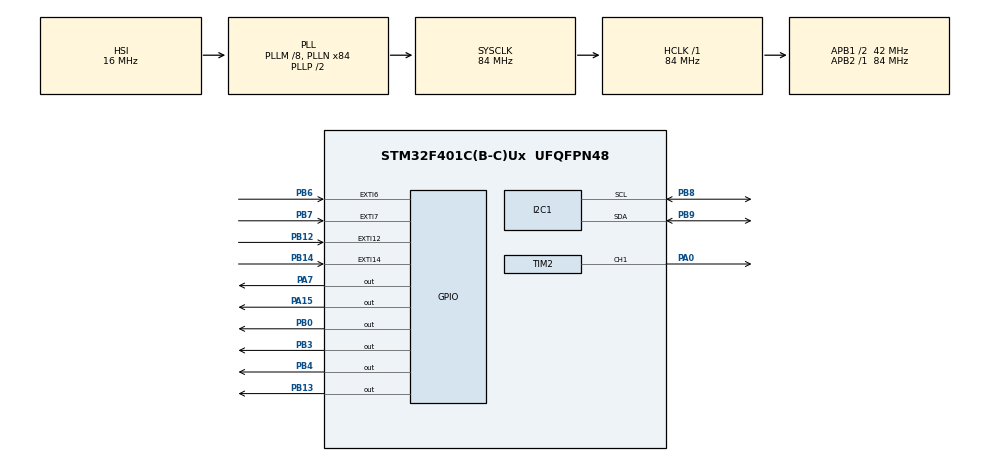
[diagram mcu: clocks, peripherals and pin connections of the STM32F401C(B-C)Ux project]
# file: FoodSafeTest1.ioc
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Mcu.Family=STM32F4
Mcu.Name=STM32F401C(B-C)Ux
Mcu.Package=UFQFPN48
NVIC.EXTI15_10_IRQn=true\:0\:0\:false\:false\:true\:true\:true\:true
NVIC.EXTI9_5_IRQn=true\:0\:0\:false\:false\:true\:true\:true\:true
NVIC.PriorityGroup=NVIC_PRIORITYGROUP_4
PA0-WKUP.Signal=S_TIM2_CH1_ETR
PA13.Mode=Serial_Wire
PA13.Signal=SYS_JTMS-SWDIO
PA14.Mode=Serial_Wire
PA14.Signal=SYS_JTCK-SWCLK
PA15.Signal=GPIO_Output
PA7.Signal=GPIO_Output
PB0.Signal=GPIO_Output
PB12.Signal=GPXTI12
PB13.Signal=GPIO_Output
PB14.Signal=GPXTI14
PB3.Signal=GPIO_Output
PB4.Signal=GPIO_Output
PB6.Signal=GPXTI6
PB7.Signal=GPXTI7
PB8.Mode=I2C
PB8.Signal=I2C1_SCL
PB9.Mode=I2C
PB9.Signal=I2C1_SDA
ProjectManager.HeapSize=0x200
ProjectManager.StackSize=0x400
ProjectManager.TargetToolchain=STM32CubeIDE
RCC.48MHZClocksFreq_Value=42000000
RCC.AHBFreq_Value=84000000
RCC.APB1CLKDivider=RCC_HCLK_DIV2
RCC.APB1Freq_Value=42000000
RCC.APB1TimFreq_Value=84000000
RCC.APB2Freq_Value=84000000
RCC.APB2TimFreq_Value=84000000
RCC.CortexFreq_Value=84000000
RCC.HCLKFreq_Value=84000000
RCC.HSE_VALUE=25000000
RCC.HSI_VALUE=16000000
RCC.LSE_VALUE=32768
RCC.PLLM=8
RCC.PLLN=84
RCC.SYSCLKFreq_VALUE=84000000
RCC.SYSCLKSource=RCC_SYSCLKSOURCE_PLLCLK
RCC.VCOOutputFreq_Value=168000000
SH.S_TIM2_CH1_ETR.0=TIM2_CH1,PWM Generation1 CH1
TIM2.Channel-PWM\ Generation1\ CH1=TIM_CHANNEL_1
TIM2.Period=19999
TIM2.Prescaler=83
board=custom

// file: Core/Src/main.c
/* USER CODE BEGIN Header */
/**
  ******************************************************************************
  * @file           : main.c
  * @brief          : Main program body
  ******************************************************************************
  * @attention
  *
  * Copyright (c) 2025 STMicroelectronics.
  * All rights reserved.
  *
  * This software is licensed under terms that can be found in the LICENSE file
  * in the root directory of this software component.
  * If no LICENSE file comes with this software, it is provided AS-IS.
  *
  ******************************************************************************
  */
/* USER CODE END Header */
#include "main.h"
#include "i2c.h"
#include "tim.h"
#include "gpio.h"

/* USER CODE BEGIN Includes */
// Includes the library for controlling an LCD display via I2C.
#include "liquidcrystal_i2c.h"

// Includes the standard string library for string manipulation functions.
#include <string.h>

// Includes the library for controlling a servo motor.
#include "ServoMotor.h"

// ARM Cortex-M4 core header file.
//Includes functions like NVIC_SystemReset(), used for performing a system reset.
#include "core_cm4.h"
/* USER CODE END Includes */

/* USER CODE BEGIN PV */

// Initialize GPIO structure for keypad configuration
GPIO_InitTypeDef GPIO_InitStructPrivate = {0};

// Variables to track timing for debounce or other timing logic
uint32_t previousMillis = 0;
uint32_t currentMillis = 0;

// Variable to store the pressed key value
uint8_t keyPressed = 0;
/* USER CODE END PV */

void SystemClock_Config(void);
/* USER CODE BEGIN PFP */
void Display_WelcomeMessage()
{
	// Message to display on the LCD screen
	const char welcome_message[] = "Hello! Welcome (^-^) ... Press # to begin.  ";

	while(1)
	{
		LCD_Clear(); //Clear the display on LCD
		LCD_SetCursor(0, 0); //Set message of first row
		LCD_PrintStr(welcome_message); //display welcome message on LCD

		for (int x = 0; x < 50; x++)
		{
			LCD_ScrollDisplayLeft();  //shift the display message to the left
			HAL_Delay(300);

			// Check if the # key is pressed
			if (keyPressed == 35) // ASCII value of '#')
			{
				keyPressed = 0; // Reset keyPressed to avoid repeated detection
				return;
			}
		}
	}
}

char Display_SelectionMode()
{
	// Message to display on the LCD screen
	const char selection_display[] = "Select C or D.";
	const char selection_display2[] = "'C'=Customer      'D'=Deliverer      ";
	char buffer[17]; // Temporary buffer for 16 characters + null terminator
	char selected_mode = '\0'; // Initialize with no selection

	LCD_Clear(); //Clear the display on LCD
	LCD_SetCursor(0, 0); // Set message display to the first row
	LCD_PrintStr(selection_display);

	int length = strlen(selection_display2);
	while (selected_mode == '\0') // Keep looping until a C or D key is pressed
	{
		for (int x = 0; x < length; x++)
		{
			// Copy a portion of the text to the buffer
			for (int i = 0; i < 16; i++)
			{
				buffer[i] = selection_display2[(x + i) % length]; // Wrap text around
			}
			buffer[16] = '\0'; // Null-terminate the buffer

			// Display the scrolling second row
			LCD_SetCursor(0, 1); // Set message display to the 2nd row
			LCD_PrintStr(buffer);

			HAL_Delay(300); // Delay for smooth scrolling

			// Check if 'C' or 'D' key is pressed
			if (keyPressed == 67) // ASCII value of 'C'
			{
				selected_mode = 'C';
				keyPressed = 0; // Reset keyPressed to avoid repeated detection
				break; // Exit the loop once 'C' is pressed
			}
			else if (keyPressed == 68) // ASCII value of 'D'
			{
				selected_mode = 'D';
				keyPressed = 0; // Reset keyPressed to avoid repeated detection
				break; // Exit the loop once 'D' is pressed
			}
		}
	}
	return selected_mode;
}

char* Deliverer_SetKey(char* Deliverer_passcode)
{
	char buffer[17];
	int passcode_index = 0; // Index for passcode array

	// Message to display on the LCD screen
	const char DeliverMode_display[] = "Deliverer Mode";
	const char DeliverSetQ_display[] = "Please set a 4-key passcode:    ";

	LCD_Clear(); //Clear the display on LCD
	LCD_SetCursor(1, 0); // Set message display to the first row at centre
	LCD_PrintStr(DeliverMode_display);
	HAL_Delay(2000);

    LCD_Clear(); //Clear the display on LCD
    LCD_SetCursor(0, 0); // Set message display to the first row

	int DelSet_length = strlen(DeliverSetQ_display); //Get the length of the text

	while (passcode_index < 4)
	{
		// Scroll the "Enter 4-key passcode:" while waiting for input
		for (int x = 0; x < DelSet_length; x++)
		{
			// Display scrolling text
			for (int i = 0; i < 16; i++)
			{
				buffer[i] = DeliverSetQ_display[(x + i) % DelSet_length];
			}
			buffer[16] = '\0'; // Null-terminate the string

			LCD_SetCursor(0, 0); // Set message display to the first row
			LCD_PrintStr(buffer); // Display scrolling text

			// If a key is pressed, break scrolling
			if (keyPressed != 0)
			{
				if (keyPressed >= 48 && keyPressed <= 57) // Accept only accept numbers 0-9
				{
					// Store the pressed key
					Deliverer_passcode[passcode_index] = keyPressed;

					// Display the pressed key on 2nd row
					LCD_SetCursor(passcode_index, 1);
					LCD_PrintSpecialChar(keyPressed); // Show the actual number pressed

					passcode_index++;
				}
				keyPressed = 0; // Reset keyPressed
				break; // Break scrolling to update immediately
			}

			HAL_Delay(300); // Adjust scrolling speed
		}
	}

	Deliverer_passcode[4] = '\0'; // Null-terminate the passcode string
	return Deliverer_passcode;
}

/* USER CODE END PFP */

int main(void)
{

  /* MCU Configuration--------------------------------------------------------*/

  /* Reset of all peripherals, Initializes the Flash interface and the Systick. */
  HAL_Init();

  /* Configure the system clock */
  SystemClock_Config();

  /* Initialize all configured peripherals */
  MX_GPIO_Init();
  MX_I2C1_Init();
  MX_TIM2_Init();
  /* USER CODE BEGIN 2 */

  LCD_Init(2); // Initialize the LCD display with 2 rows
  ServoMotor_Init(); // Initialize the servo motor for operation
  HAL_Delay(1000); // Wait for 1 second to ensure proper initialization

  //initialise keypad columns  as outputs and set them high
  HAL_GPIO_WritePin(GPIOA, GPIO_PIN_15, 1); //Column 4 = PA15 as high
  HAL_GPIO_WritePin(GPIOB, GPIO_PIN_3, 1); //Column 3 = PB3 as high
  HAL_GPIO_WritePin(GPIOB, GPIO_PIN_4, 1); //Column 2 = PB4 as high
  HAL_GPIO_WritePin(GPIOB, GPIO_PIN_13, 1); //Column 1 = PB13 as high

  //initial state of servo motor
  ServoMotor_Set_Angle(90); //set angle of servo motor at 90 degrees (door lock)
  HAL_Delay(2000);

  //initial state of LED
  //Green_LED ON = Available (no food inside)
  HAL_GPIO_WritePin(GPIOB, GPIO_PIN_0, GPIO_PIN_SET); // Green_LED ON
  HAL_Delay(1000);

  //Red_LED OFF. If red LED ON means there's food inside)
  HAL_GPIO_WritePin(GPIOA, GPIO_PIN_7, GPIO_PIN_RESET); // Red_LED OFF
  HAL_Delay(1000);

  char Result_SetPasscode[5] = {0}; // Store the passcode set by the deliverer
  char Customer_passcode[5] = {0}; // Store the passcode set by the customer
  int t = 0; // Track the number of incorrect attempts

  while(1) //infinite loop
  {
	  //Display welcome message on LCD
	  Display_WelcomeMessage();

  	  // Display selection screen and return selection choice after # is pressed (inside Display_WelcomeMessage function)
  	  char selected_mode = Display_SelectionMode();

  	  if (selected_mode == 'C') //CustomerMode;
  	  {
  		  // Message to display on the LCD screen
  		  const char CustomerCode_display[] = "Please enter the 4-key passcode:    ";
			char cust_buffer[17];
			int cust_passcode_index = 0; // Index for passcode array

			LCD_Clear(); //Clear the display on LCD
			LCD_SetCursor(1, 0); // Set message display to the first row at centre
			LCD_PrintStr("Customer Mode");
			HAL_Delay(2000); //Display for 2 seconds

			LCD_Clear(); //Clear the display on LCD

			t = 0; //reset retry counter

			while (t < 3) // Allow up to 3 attempts
			{
				LCD_SetCursor(0,0);
				int CusSet_length = strlen(CustomerCode_display); //get length of text
				while (cust_passcode_index < 4)
				{
					// Scroll the "Please Enter the 4-key passcode:" while waiting for input
					for (int x = 0; x < CusSet_length; x++)
					{
						// Display scrolling text
						for (int i = 0; i < 16; i++)
						{
							cust_buffer[i] = CustomerCode_display[(x + i) % CusSet_length];
						}
						cust_buffer[16] = '\0'; // Null-terminate the string

						LCD_SetCursor(0, 0); // Set message display to the first row
						LCD_PrintStr(cust_buffer); // Display scrolling text

						// If a key is pressed, break scrolling
						if (keyPressed != 0)
						{
							if (keyPressed >= 48 && keyPressed <= 57) // Accept only accept numbers 0-9
							{
								// Store the pressed key
								Customer_passcode[cust_passcode_index] = keyPressed;

								// Display the pressed key on 2nd row
								LCD_SetCursor(cust_passcode_index, 1); //display the keypressed according the the column
								LCD_PrintSpecialChar(keyPressed); // Show the actual number pressed

								cust_passcode_index++;
							}
							keyPressed = 0; // Reset keyPressed
							break; // Break scrolling to update immediately
						}

						HAL_Delay(300); // Adjust scrolling speed
					}
				}

			Customer_passcode[4] = '\0'; // Null-terminate the passcode string

			//compare the customer entered passcode and the deliverer set peasscode
			if (strcmp(Customer_passcode, Result_SetPasscode) != 0) //if wrong passcode entered
			{
				LCD_Clear(); //Clear the display on LCD
				LCD_SetCursor(0, 0); // Set message display to the first row
				LCD_PrintStr("Invalid passcode!");
				HAL_Delay(2000);
				t+=1;
				cust_passcode_index = 0; // Reset passcode entry
			}
			else //if correct passcode entered
			{
				LCD_Clear(); //Clear the display on LCD
				LCD_SetCursor(0, 0);// Set message display to the first row
				LCD_PrintStr("Passcode reset!!"); //display passcode reset
				HAL_Delay(2000);
				Result_SetPasscode[0] = '\0'; // Clear previous deliverer passcode

				LCD_Clear(); //Clear the display on LCD
				LCD_SetCursor(3,0); // Set message display to the first row at centre
				LCD_PrintStr("Door open.");
				HAL_Delay(2000); //Display for 2 seconds

				//motor turns to unlock
				ServoMotor_Set_Angle(0); //set angle of servo motor at 0 degrees (door unlock)
				HAL_Delay(2000);

				//turn off Red_LED
				HAL_GPIO_WritePin(GPIOA, GPIO_PIN_7, GPIO_PIN_RESET); // Turn off Red_LED
				HAL_Delay(1000);

				LCD_Clear(); //Clear the display on LCD
				LCD_SetCursor(0,0); // Set message display to the first row
				LCD_PrintStr("Please take out");
				LCD_SetCursor(0,1);
				LCD_PrintStr("your food."); // Set message display to the 2nd row
				HAL_Delay(5000); //need make it longer maybe

				LCD_Clear(); //Clear the display on LCD
				LCD_SetCursor(0,0); // Set message display to the first row
				LCD_PrintStr("Close the door &");
				LCD_SetCursor(0,1); // Set message display to the 2nd row
				LCD_PrintStr("press # to lock.");

				// Wait for user to press '#'
				while (1)
				{
					if (keyPressed == 35) // ASCII value of '#'
					{
						//motor turns to lock
						ServoMotor_Set_Angle(90); //set angle of servo motor at 90 degrees (door lock)
						HAL_Delay(2000);

						//display of LCD
						LCD_Clear(); //Clear the display on LCD
						LCD_SetCursor(2, 0); // Set message display to the first row at centre
						LCD_PrintStr("Thank You!!!");
						LCD_SetCursor(0, 1); // Set message display to the 2nd row
						LCD_PrintStr("Have a nice day.");
						HAL_Delay(2000);

						keyPressed = 0; // Reset keyPressed

						//Green_LED ON = Available (No food inside)
						HAL_GPIO_WritePin(GPIOB, GPIO_PIN_0, GPIO_PIN_SET); // Turn on Green_LED
						HAL_Delay(1000);
						break; // Exit the loop after confirmation
					}
					HAL_Delay(100); // Polling delay
				}
				break;
			}
		}
		//loops back to beginning
	}
	else if (selected_mode == 'D') //Deliver mode
	{
		char passcode[5]; // Array to store the passcode

		Result_SetPasscode[0] = '\0'; // Clear previous passcode

		Deliverer_SetKey(passcode);
		strcpy(Result_SetPasscode, passcode); // Store the new passcode

		// Display the entered passcode and ask for confirmation
		LCD_Clear(); //Clear the display on LCD
		LCD_SetCursor(0, 0); // Set message display to the first row
		LCD_PrintStr("Passcode:");
		LCD_SetCursor(11, 0); // Set message display to the first row beside "Passcode:"
		LCD_PrintStr(Result_SetPasscode);

		LCD_SetCursor(0, 1); // Set message display to the 2nd row
		LCD_PrintStr("Confirm? Press #");

		// Wait for user to press '#'
		while (1)
		{
			if (keyPressed == 35) // ASCII value of '#'
			{
				LCD_Clear(); //Clear the display on LCD
				LCD_SetCursor(0, 0); // Set message display to the first row
				LCD_PrintStr("Passcode Confirmed!");
				HAL_Delay(2000);
				keyPressed = 0; // Reset keyPressed
				break; // Exit the loop after confirmation
			}
			HAL_Delay(100); // Polling delay
		}

		LCD_Clear(); //Clear the display on LCD
		LCD_SetCursor(3,0); // Set message display to the first row at centre
		LCD_PrintStr("Door open.");
		HAL_Delay(2000);

		//Motor turns unlock
		ServoMotor_Set_Angle(0); //set angle of servo motor at 0 degrees (door unlock)
		HAL_Delay(2000);

		//Green_LED OFF
		HAL_GPIO_WritePin(GPIOB, GPIO_PIN_0, GPIO_PIN_RESET); // Turn off Green_LED
		HAL_Delay(1000);

		LCD_Clear(); //Clear the display on LCD
		LCD_SetCursor(2,0); //display on first row
		LCD_PrintStr("Please insert");
		LCD_SetCursor(0,1); //display on second row
		LCD_PrintStr("the food inside.");
		HAL_Delay(5000);

		LCD_Clear(); //Clear the display on LCD after 5 seconds of previous display
		LCD_SetCursor(0,0); //display on first row
		LCD_PrintStr("Close the door &");
		LCD_SetCursor(0,1); //display on second row
		LCD_PrintStr("press # to lock.");

		// Wait for user to press '#'
		while (1)
		{
			if (keyPressed == 35) // ASCII value of '#'
			{
				//motor turns to lock
				ServoMotor_Set_Angle(90); //set angle of servo motor at 90 degrees (door lock)
				HAL_Delay(2000);

				//display on LCD
				LCD_Clear();
				LCD_SetCursor(2, 0); // Set message display to the first row at centre
				LCD_PrintStr("Thank You!!!");
				LCD_SetCursor(0, 1); // Set message display to the 2nd row
				LCD_PrintStr("Have a nice day.");
				HAL_Delay(2000);

				keyPressed = 0; // Reset keyPressed

				//Red_LED ON = Not available (Food inside)
				HAL_GPIO_WritePin(GPIOA, GPIO_PIN_7, GPIO_PIN_SET); // Turn on Red_LED
				HAL_Delay(1000);
				break; // Exit the loop after confirmation
			}
			HAL_Delay(100); // Polling delay
		}
		//loops back to beginning
	}
  }

  /* USER CODE END 2 */

  /* Infinite loop */
  while (1)
  {

  }
}

void SystemClock_Config(void)
{
  RCC_OscInitTypeDef RCC_OscInitStruct = {0};
  RCC_ClkInitTypeDef RCC_ClkInitStruct = {0};

  /** Configure the main internal regulator output voltage
  */
  __HAL_RCC_PWR_CLK_ENABLE();
  __HAL_PWR_VOLTAGESCALING_CONFIG(PWR_REGULATOR_VOLTAGE_SCALE2);

  /** Initializes the RCC Oscillators according to the specified parameters
  * in the RCC_OscInitTypeDef structure.
  */
  RCC_OscInitStruct.OscillatorType = RCC_OSCILLATORTYPE_HSI;
  RCC_OscInitStruct.HSIState = RCC_HSI_ON;
  RCC_OscInitStruct.HSICalibrationValue = RCC_HSICALIBRATION_DEFAULT;
  RCC_OscInitStruct.PLL.PLLState = RCC_PLL_ON;
  RCC_OscInitStruct.PLL.PLLSource = RCC_PLLSOURCE_HSI;
  RCC_OscInitStruct.PLL.PLLM = 8;
  RCC_OscInitStruct.PLL.PLLN = 84;
  RCC_OscInitStruct.PLL.PLLP = RCC_PLLP_DIV2;
  RCC_OscInitStruct.PLL.PLLQ = 4;
  if (HAL_RCC_OscConfig(&RCC_OscInitStruct) != HAL_OK)
  {
    Error_Handler();
  }

  /** Initializes the CPU, AHB and APB buses clocks
  */
  RCC_ClkInitStruct.ClockType = RCC_CLOCKTYPE_HCLK|RCC_CLOCKTYPE_SYSCLK
                              |RCC_CLOCKTYPE_PCLK1|RCC_CLOCKTYPE_PCLK2;
  RCC_ClkInitStruct.SYSCLKSource = RCC_SYSCLKSOURCE_PLLCLK;
  RCC_ClkInitStruct.AHBCLKDivider = RCC_SYSCLK_DIV1;
  RCC_ClkInitStruct.APB1CLKDivider = RCC_HCLK_DIV2;
  RCC_ClkInitStruct.APB2CLKDivider = RCC_HCLK_DIV1;

  if (HAL_RCC_ClockConfig(&RCC_ClkInitStruct, FLASH_LATENCY_2) != HAL_OK)
  {
    Error_Handler();
  }
}

/* USER CODE BEGIN 4 */
// Callback function for GPIO external interrupt (keypad settings)
void HAL_GPIO_EXTI_Callback(uint16_t GPIO_Pin)
{
	currentMillis = HAL_GetTick(); // Get the current system tick count

	// Check if 10ms have passed since the last interrupt to debounce the keypad
	if (currentMillis - previousMillis > 10)
	{
		// Configure GPIO pins PB6, PB7, PB12, PB14 as input pins for reading keypad rows
		GPIO_InitStructPrivate.Pin = GPIO_PIN_6|GPIO_PIN_7|GPIO_PIN_12|GPIO_PIN_14;
		GPIO_InitStructPrivate.Mode = GPIO_MODE_INPUT; // Set pins as input
		GPIO_InitStructPrivate.Pull = GPIO_NOPULL; // No pull-up or pull-down resistors
		GPIO_InitStructPrivate.Speed = GPIO_SPEED_FREQ_LOW; // Low frequency for stable input
		HAL_GPIO_Init(GPIOB, &GPIO_InitStructPrivate); // Initialize the pins

		// Set Column 4 high and Columns 1-3 low for scanning the keypad
		HAL_GPIO_WritePin(GPIOA, GPIO_PIN_15, 1); // Set Column 4 high
		HAL_GPIO_WritePin(GPIOB, GPIO_PIN_3, 0); // Set Column 3 low
		HAL_GPIO_WritePin(GPIOB, GPIO_PIN_4, 0); // Set Column 2 low
		HAL_GPIO_WritePin(GPIOB, GPIO_PIN_13, 0); // Set Column 1 low

		// Check which row is active and set the corresponding key value
		if(GPIO_Pin == GPIO_PIN_6 && HAL_GPIO_ReadPin(GPIOB, GPIO_PIN_6))
		{
			keyPressed = 68; //ASCII value of D
		}
		else if(GPIO_Pin == GPIO_PIN_7 && HAL_GPIO_ReadPin(GPIOB, GPIO_PIN_7))
		{
			keyPressed = 67; //ASCII value of C
		}
		else if(GPIO_Pin == GPIO_PIN_12 && HAL_GPIO_ReadPin(GPIOB, GPIO_PIN_12))
		{
			keyPressed = 66; //ASCII value of B
		}
		else if(GPIO_Pin == GPIO_PIN_14 && HAL_GPIO_ReadPin(GPIOB, GPIO_PIN_14))
		{
			keyPressed = 65; //ASCII value of A
			NVIC_SystemReset(); // Trigger a system reset
		}

		// Set Column 3 high and Columns 4 and 1-2 low for scanning the keypad
		HAL_GPIO_WritePin(GPIOA, GPIO_PIN_15, 0); // Set Column 4 low
		HAL_GPIO_WritePin(GPIOB, GPIO_PIN_3, 1); // Set Column 3 high
		HAL_GPIO_WritePin(GPIOB, GPIO_PIN_4, 0); // Set Column 2 low
		HAL_GPIO_WritePin(GPIOB, GPIO_PIN_13, 0); // Set Column 1 low

		// Check which row is active and set the corresponding key value
		if(GPIO_Pin == GPIO_PIN_6 && HAL_GPIO_ReadPin(GPIOB, GPIO_PIN_6))
		{
			keyPressed = 35; //ASCII value of #
		}
		else if(GPIO_Pin == GPIO_PIN_7 && HAL_GPIO_ReadPin(GPIOB, GPIO_PIN_7))
		{
			keyPressed = 57; //ASCII value of 9
		}
		else if(GPIO_Pin == GPIO_PIN_12 && HAL_GPIO_ReadPin(GPIOB, GPIO_PIN_12))
		{
			keyPressed = 54; //ASCII value of 6
		}
		else if(GPIO_Pin == GPIO_PIN_14 && HAL_GPIO_ReadPin(GPIOB, GPIO_PIN_14))
		{
			keyPressed = 51; //ASCII value of 3
		}

		// Set Column 2 high and Columns 3-4 and 1 low for scanning the keypad
		HAL_GPIO_WritePin(GPIOA, GPIO_PIN_15, 0); // Set Column 4 low
		HAL_GPIO_WritePin(GPIOB, GPIO_PIN_3, 0); // Set Column 3 low
		HAL_GPIO_WritePin(GPIOB, GPIO_PIN_4, 1); // Set Column 2 high
		HAL_GPIO_WritePin(GPIOB, GPIO_PIN_13, 0); // Set Column 1 low

		// Check which row is active and set the corresponding key value
		if(GPIO_Pin == GPIO_PIN_6 && HAL_GPIO_ReadPin(GPIOB, GPIO_PIN_6))
		{
			keyPressed = 48; //ASCII value of 0
		}
		else if(GPIO_Pin == GPIO_PIN_7 && HAL_GPIO_ReadPin(GPIOB, GPIO_PIN_7))
		{
			keyPressed = 56; //ASCII value of 8
		}
		else if(GPIO_Pin == GPIO_PIN_12 && HAL_GPIO_ReadPin(GPIOB, GPIO_PIN_12))
		{
			keyPressed = 53; //ASCII value of 5
		}
		else if(GPIO_Pin == GPIO_PIN_14 && HAL_GPIO_ReadPin(GPIOB, GPIO_PIN_14))
		{
			keyPressed = 50; //ASCII value of 2
		}

		// Set Column 1 high and Columns 2-4 low for scanning the keypad
		HAL_GPIO_WritePin(GPIOA, GPIO_PIN_15, 0); // Set Column 4 low
		HAL_GPIO_WritePin(GPIOB, GPIO_PIN_3, 0); // Set Column 3 low
		HAL_GPIO_WritePin(GPIOB, GPIO_PIN_4, 0); // Set Column 2 low
		HAL_GPIO_WritePin(GPIOB, GPIO_PIN_13, 1); // Set Column 1 high

		// Check which row is active and set the corresponding key value
		if(GPIO_Pin == GPIO_PIN_6 && HAL_GPIO_ReadPin(GPIOB, GPIO_PIN_6))
		{
			keyPressed = 42; //ASCII value of *
		}
		else if(GPIO_Pin == GPIO_PIN_7 && HAL_GPIO_ReadPin(GPIOB, GPIO_PIN_7))
		{
			keyPressed = 55; //ASCII value of 7
		}
		else if(GPIO_Pin == GPIO_PIN_12 && HAL_GPIO_ReadPin(GPIOB, GPIO_PIN_12))
		{
			keyPressed = 52; //ASCII value of 4
		}
		else if(GPIO_Pin == GPIO_PIN_14 && HAL_GPIO_ReadPin(GPIOB, GPIO_PIN_14))
		{
			keyPressed = 49; //ASCII value of 1
		}

		// Set all columns (1-4) back to high to reset the keypad for the next scan
		HAL_GPIO_WritePin(GPIOA, GPIO_PIN_15, 1);
		HAL_GPIO_WritePin(GPIOB, GPIO_PIN_3, 1);
		HAL_GPIO_WritePin(GPIOB, GPIO_PIN_4, 1);
		HAL_GPIO_WritePin(GPIOB, GPIO_PIN_13, 1);

		// Reconfigure GPIO pins PB6, PB7, PB12, PB14 to EXTI (external interrupt) mode
		GPIO_InitStructPrivate.Mode = GPIO_MODE_IT_RISING; // Interrupt on rising edge
		GPIO_InitStructPrivate.Pull = GPIO_PULLDOWN;  // Enable pull-down resistors
		HAL_GPIO_Init(GPIOB, &GPIO_InitStructPrivate);

		// Update previousMillis with the current tick to manage debounce timing
		previousMillis = currentMillis;
	}
}
/* USER CODE END 4 */

void Error_Handler(void)
{
  __disable_irq();
  while (1)
  {
  }
}
